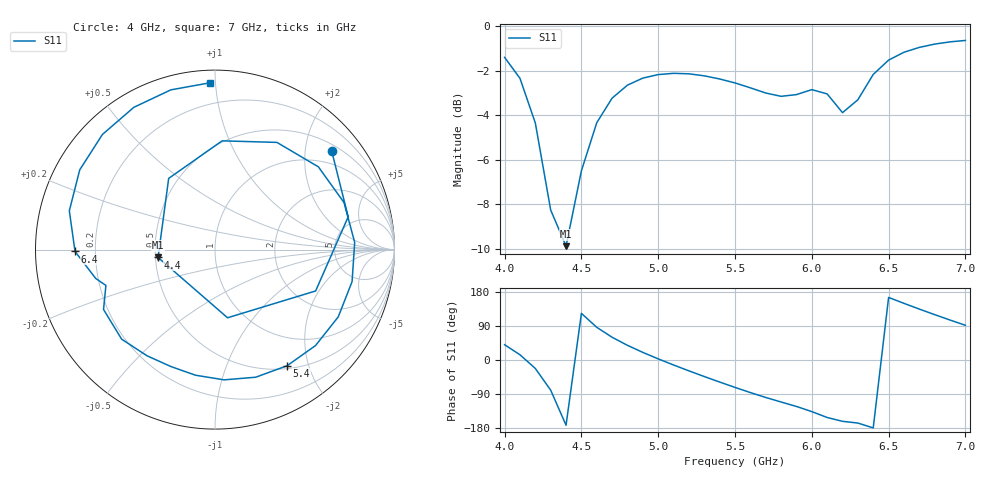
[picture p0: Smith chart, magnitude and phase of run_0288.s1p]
! Touchstone file exported from HFSS 2024.2.0
!  File:  C:/Users/wsak9/Desktop/Sim Fast/Widenad Patch/WP_AI_V1_sweep.aedt
!  Generated:  03:09:00 AM Oct 14, 2026
!  Design:  A1_model
!  Project:  WP_AI_V1_sweep
!  Setup:  Setup1
!  Solution:  Sweep
! Variables:
!  Air_gap = 1.55mm
!  Curve_Amp1 = 0.62
!  Curve_len1 = 1
!  Curve_pos = 12.42mm
!  Extra = 0.52mm
!  H_sub = 0.79mm
!  L_Patch = 20.84mm
!  L_Patch1 = 17.22mm
!  Sx = 3.84mm
!  Sy = 2.94mm
!  WS = 1.17mm
!  W_Patch = 20.55mm
!  W_Patch1 = 16.7mm
!Data is not renormalized
# GHz S MA
! Terminal data exported
! Port[1] = 1
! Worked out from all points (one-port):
!   31 points, 4 GHz to 7 GHz, reference per port
!   lowest |S11| = -9.9 dB at 4.4 GHz (marker M1), VSWR 1.94
!   |S11| at or under -10 dB: nowhere
!   S11 on the Smith chart (normalised r, x): 4 GHz: 0.64, +2.58; 4.4 GHz: 0.52, -0.05; 5.4 GHz: 0.54, -1.67; 6.4 GHz: 0.12, -0.01; 7 GHz: 0.07, +0.97
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4  0.852 40.3
4.1  0.7642 13.8
4.2  0.6062 -22.3
4.3  0.3862 -79.6
4.4  0.3202 -172.1
4.5  0.4732 123.1
4.6  0.6073 86.2
4.7  0.6897 60.0
4.8  0.7378 38.7
4.9  0.7651 20.0
5  0.7793 3.0
5.1  0.7843 -13.2
5.2  0.7823 -28.6
5.4  0.7616 -58.2
5.5  0.7463 -72.3
5.7  0.7082 -98.9
5.9  0.7024 -122.6
6  0.7208 -136.2
6.1  0.7049 -151.7
6.2  0.6397 -161.8
6.3  0.6839 -166.4
6.4  0.7799 -179.2
6.5  0.8399 165.1
6.6  0.8748 149.5
6.7  0.8972 134.4
6.8  0.9126 119.7
6.9  0.9233 105.5
7  0.93 91.6
